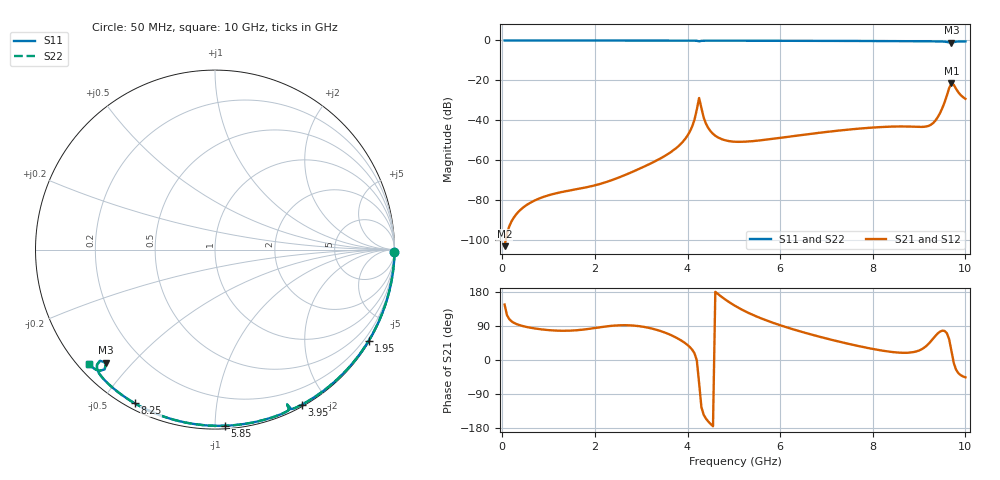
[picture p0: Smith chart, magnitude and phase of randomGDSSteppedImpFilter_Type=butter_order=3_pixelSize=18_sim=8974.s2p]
! freq	dB(S11)	phase(S11)	dB(S12)	phase(S12)
!  dB(S21)	phase(S21)	dB(S22)	phase(S22)
!S-par simulation data
#  GHz  S  DB  R 50
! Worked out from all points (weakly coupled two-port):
!   200 points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, 50 MHz to 10 GHz, reference 50 ohm
!   highest |S21| = -21.39 dB at 9.7 GHz (marker M1); lowest = -102.9 dB at 50 MHz (marker M2)
!   lowest |S11| = -1.2 dB at 9.7 GHz (marker M3), VSWR 14.98, Z = 3.94 - j21.2 ohm
!   |S11| at or under -10 dB: nowhere
!   |S22| runs from -1.2 to 0.0 dB; largest |S21 - S12| = 0
!   S11 on the Smith chart (normalised r, x): 50 MHz: open; 1.95 GHz: 0.03, -3.64; 3.95 GHz: 0.02, -1.70; 5.85 GHz: 0.02, -1.06; 8.25 GHz: 0.02, -0.61; 10 GHz: 0.03, -0.39
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0.05  -0.00 -0.8  -102.90 146.2  -102.90 146.2  -0.00 -0.8
0.7  -0.01 -11.2  -80.03 83.2  -80.03 83.2  -0.01 -11.2
1.75  -0.04 -27.7  -73.76 80.2  -73.76 80.2  -0.04 -27.7
1.95  -0.04 -30.7  -72.75 83.5  -72.75 83.5  -0.04 -30.7
2.6  -0.05 -40.7  -67.79 91.9  -67.79 91.9  -0.05 -40.7
3.4  -0.07 -52.6  -59.19 77.1  -59.19 77.1  -0.07 -52.6
3.95  -0.09 -60.8  -49.21 44.3  -49.21 44.3  -0.09 -60.8
4.1  -0.10 -63.1  -43.05 27.3  -43.05 27.3  -0.10 -63.1
4.15  -0.11 -64.1  -39.65 17.7  -39.65 17.7  -0.11 -64.0
4.25  -0.43 -65.0  -28.78 -60.9  -28.78 -60.9  -0.43 -65.0
4.35  -0.13 -65.6  -38.66 -144.7  -38.66 -144.7  -0.13 -65.6
4.5  -0.11 -68.1  -45.48 -169.0  -45.48 -169.0  -0.11 -68.1
4.75  -0.11 -71.7  -49.48 165.3  -49.48 165.3  -0.11 -71.7
5.05  -0.12 -75.9  -50.67 141.3  -50.67 141.3  -0.12 -75.9
5.85  -0.15 -86.8  -49.16 98.0  -49.16 98.0  -0.15 -86.8
6.7  -0.19 -97.9  -46.58 66.3  -46.58 66.3  -0.19 -97.9
8.25  -0.30 -117.5  -43.23 23.9  -43.23 23.9  -0.30 -117.5
8.35  -0.31 -118.8  -43.13 22.1  -43.13 22.1  -0.31 -118.8
9.25  -0.42 -130.3  -42.23 48.7  -42.23 48.7  -0.42 -130.3
9.45  -0.50 -133.2  -36.43 74.7  -36.43 74.7  -0.50 -133.2
9.7  -1.16 -133.9  -21.39 23.1  -21.39 23.1  -1.16 -133.9
10  -0.46 -137.5  -29.16 -45.8  -29.16 -45.8  -0.46 -137.5
